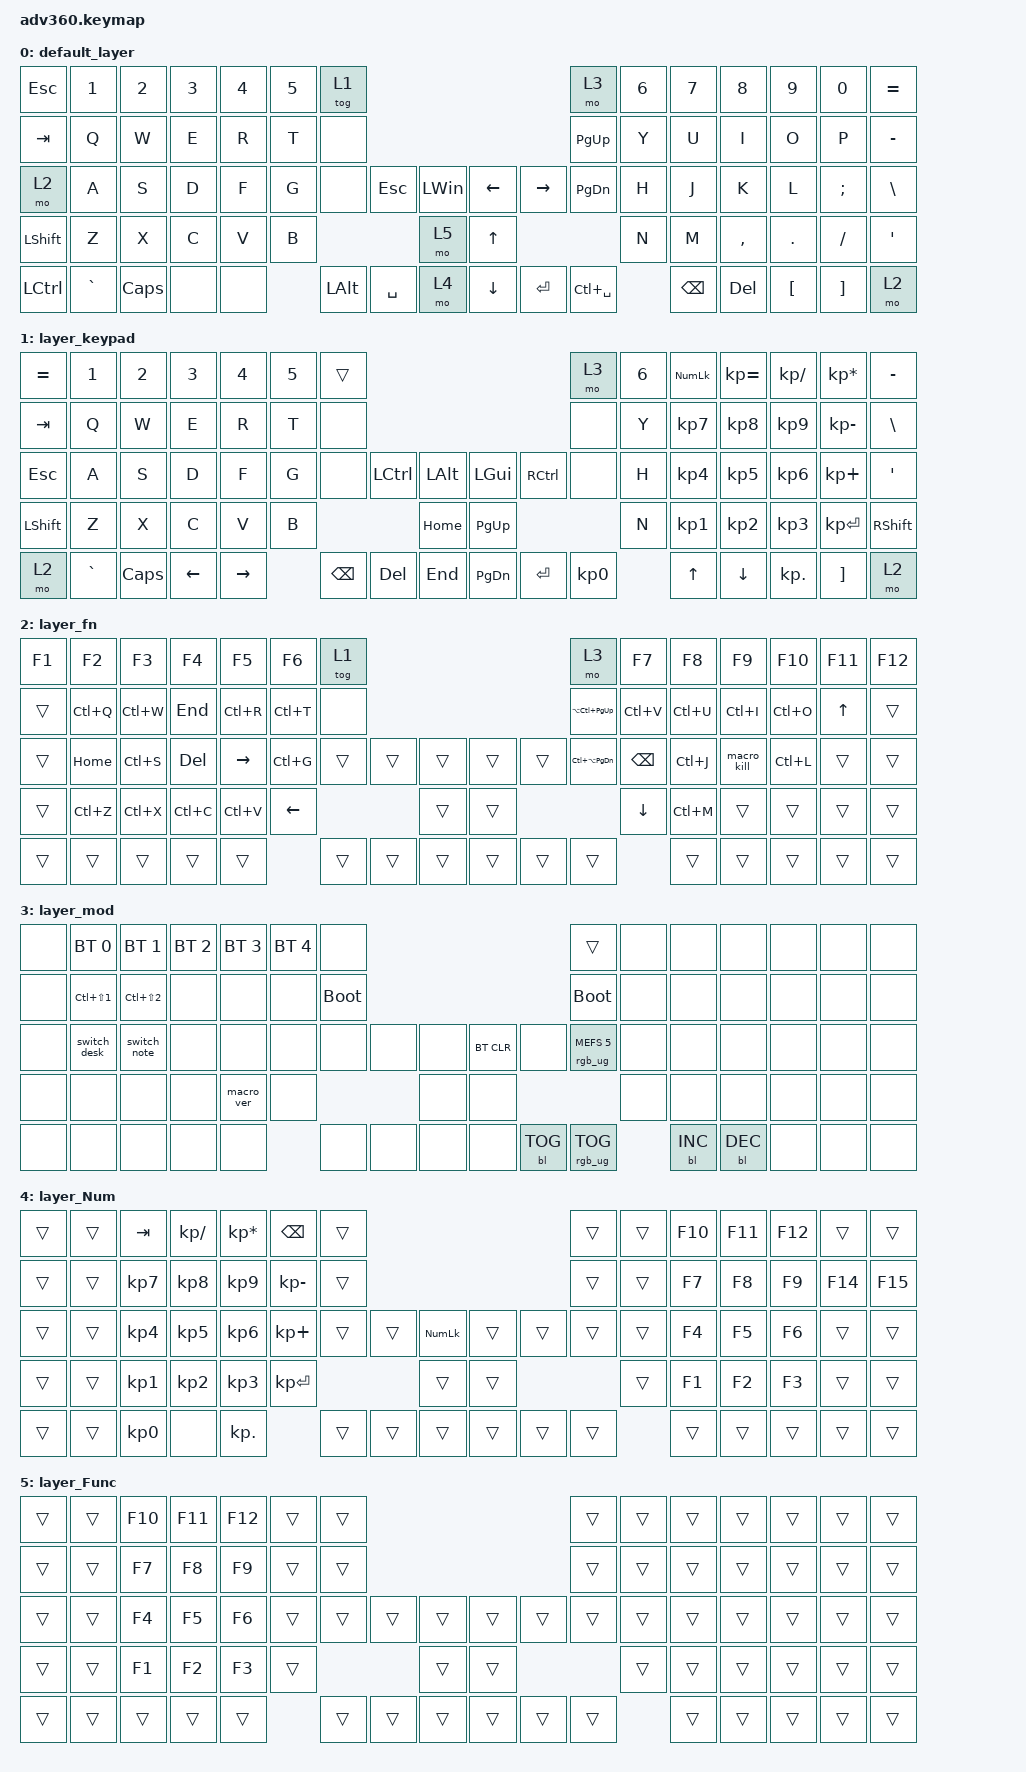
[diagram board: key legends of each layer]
/*
 * Copyright (c) 2020 The ZMK Contributors
 *
 * SPDX-License-Identifier: MIT
 */
/* THIS FILE WAS GENERATED!
 *
 * This file was generated automatically. You may or may not want to
 * edit it directly.
 */

#include <behaviors.dtsi>
#include <dt-bindings/zmk/backlight.h>
#include <dt-bindings/zmk/bt.h>
#include <dt-bindings/zmk/keys.h>
#include <dt-bindings/zmk/rgb.h>

/ {
    behaviors {
        #include "macros.dtsi"
    #include "version.dtsi"

        hm: homerow_mods {
            compatible = "zmk,behavior-hold-tap";
            label = "HOMEROW_MODS";
            #binding-cells = <2>;
            tapping-term-ms = <200>;
            quick_tap_ms = <175>;
            flavor = "tap-preferred";
            bindings = <&kp>, <&kp>;
        };
    };

    macros {
        switch_note: switch_note {
            compatible = "zmk,behavior-macro";
            #binding-cells = <0>;
            bindings = <&kp LC(LS(NUMBER_2)) &bt BT_SEL 1>;
            label = "SWITCH_NOTE";
        };

        switch_desk: switch_desk {
            compatible = "zmk,behavior-macro";
            #binding-cells = <0>;
            bindings = <&kp LS(LC(NUMBER_1)) &bt BT_SEL 0>;
            label = "SWITCH_DESK";
        };
    };

    keymap {
        compatible = "zmk,keymap";

        default_layer {
            bindings = <
&kp ESC           &kp N1     &kp N2    &kp N3  &kp N4  &kp N5  &tog 1                                                      &mo 3          &kp N6  &kp N7         &kp N8      &kp N9    &kp N0    &kp EQUAL
&kp TAB           &kp Q      &kp W     &kp E   &kp R   &kp T   &none                                                       &kp PAGE_UP    &kp Y   &kp U          &kp I       &kp O     &kp P     &kp MINUS
&mo 2             &kp A      &kp S     &kp D   &kp F   &kp G   &none         &kp ESC    &kp LWIN      &kp LEFT  &kp RIGHT  &kp PAGE_DOWN  &kp H   &kp J          &kp K       &kp L     &kp SEMI  &kp BSLH
&kp LSHFT         &kp Z      &kp X     &kp C   &kp V   &kp B                            &mo 5         &kp UP                              &kp N   &kp M          &kp COMMA   &kp DOT   &kp FSLH  &kp SQT
&kp LEFT_CONTROL  &kp GRAVE  &kp CAPS  &none   &none           &kp LEFT_ALT  &kp SPACE  &mo 4         &kp DOWN  &kp ENTER  &kp LC(SPACE)          &kp BACKSPACE  &kp DELETE  &kp LBKT  &kp RBKT  &mo 2
            >;
        };

        layer_keypad {
            bindings = <
&kp EQUAL  &kp N1     &kp N2    &kp N3    &kp N4     &kp N5  &trans                                                   &mo 3      &kp N6  &kp KP_NUM  &kp KP_EQUAL  &kp KP_DIVIDE  &kp KP_MULTIPLY  &kp MINUS
&kp TAB    &kp Q      &kp W     &kp E     &kp R      &kp T   &none                                                    &none      &kp Y   &kp KP_N7   &kp KP_N8     &kp KP_N9      &kp KP_MINUS     &kp BSLH
&kp ESC    &kp A      &kp S     &kp D     &kp F      &kp G   &none     &kp LCTRL  &kp LALT      &kp LGUI   &kp RCTRL  &none      &kp H   &kp KP_N4   &kp KP_N5     &kp KP_N6      &kp KP_PLUS      &kp SQT
&kp LSHFT  &kp Z      &kp X     &kp C     &kp V      &kp B                        &kp HOME      &kp PG_UP                        &kp N   &kp KP_N1   &kp KP_N2     &kp KP_N3      &kp KP_ENTER     &kp RSHFT
&mo 2      &kp GRAVE  &kp CAPS  &kp LEFT  &kp RIGHT          &kp BSPC  &kp DEL    &kp END       &kp PG_DN  &kp ENTER  &kp KP_N0          &kp UP      &kp DOWN      &kp KP_DOT     &kp RBKT         &mo 2
            >;
        };

        layer_fn {
            bindings = <
&kp F1  &kp F2     &kp F3     &kp F4      &kp F5     &kp F6     &tog 1                                      &mo 3                  &kp F7         &kp F8     &kp F9       &kp F10    &kp F11  &kp F12
&trans  &kp LC(Q)  &kp LC(W)  &kp END     &kp LC(R)  &kp LC(T)  &none                                       &kp LA(LC(PAGE_UP))    &kp LC(V)      &kp LC(U)  &kp LC(I)    &kp LC(O)  &kp UP   &trans
&trans  &kp HOME   &kp LC(S)  &kp DELETE  &kp RIGHT  &kp LC(G)  &trans  &trans  &trans      &trans  &trans  &kp LC(LA(PAGE_DOWN))  &kp BACKSPACE  &kp LC(J)  &macro_kill  &kp LC(L)  &trans   &trans
&trans  &kp LC(Z)  &kp LC(X)  &kp LC(C)   &kp LC(V)  &kp LEFT                   &trans      &trans                                 &kp DOWN       &kp LC(M)  &trans       &trans     &trans   &trans
&trans  &trans     &trans     &trans      &trans                &trans  &trans  &trans      &trans  &trans  &trans                                &trans     &trans       &trans     &trans   &trans
            >;
        };

        layer_mod {
            bindings = <
&none  &bt BT_SEL 0          &bt BT_SEL 1          &bt BT_SEL 2  &bt BT_SEL 3  &bt BT_SEL 4  &none                                                  &trans                  &none  &none       &none       &none  &none  &none
&none  &kp LC(LS(NUMBER_1))  &kp LC(LS(NUMBER_2))  &none         &none         &none         &bootloader                                            &bootloader             &none  &none       &none       &none  &none  &none
&none  &switch_desk          &switch_note          &none         &none         &none         &none        &none  &none      &bt BT_CLR  &none       &rgb_ug RGB_MEFS_CMD 5  &none  &none       &none       &none  &none  &none
&none  &none                 &none                 &none         &macro_ver    &none                             &none      &none                                           &none  &none       &none       &none  &none  &none
&none  &none                 &none                 &none         &none                       &none        &none  &none      &none       &bl BL_TOG  &rgb_ug RGB_TOG                &bl BL_INC  &bl BL_DEC  &none  &none  &none
            >;
        };

        layer_Num {
            bindings = <
&trans  &trans  &kp TAB    &kp KP_SLASH  &kp KP_MULTIPLY  &kp BACKSPACE  &trans                                              &trans  &trans  &kp F10  &kp F11  &kp F12  &trans   &trans
&trans  &trans  &kp KP_N7  &kp KP_N8     &kp KP_N9        &kp KP_MINUS   &trans                                              &trans  &trans  &kp F7   &kp F8   &kp F9   &kp F14  &kp F15
&trans  &trans  &kp KP_N4  &kp KP_N5     &kp KP_N6        &kp KP_PLUS    &trans  &trans  &kp KP_NUMLOCK      &trans  &trans  &trans  &trans  &kp F4   &kp F5   &kp F6   &trans   &trans
&trans  &trans  &kp KP_N1  &kp KP_N2     &kp KP_N3        &kp KP_ENTER                   &trans              &trans                  &trans  &kp F1   &kp F2   &kp F3   &trans   &trans
&trans  &trans  &kp KP_N0  &none         &kp KP_DOT                      &trans  &trans  &trans              &trans  &trans  &trans          &trans   &trans   &trans   &trans   &trans
            >;
        };

        layer_Func {
            bindings = <
&trans  &trans  &kp F10  &kp F11  &kp F12  &trans  &trans                                      &trans  &trans  &trans  &trans  &trans  &trans  &trans
&trans  &trans  &kp F7   &kp F8   &kp F9   &trans  &trans                                      &trans  &trans  &trans  &trans  &trans  &trans  &trans
&trans  &trans  &kp F4   &kp F5   &kp F6   &trans  &trans  &trans  &trans      &trans  &trans  &trans  &trans  &trans  &trans  &trans  &trans  &trans
&trans  &trans  &kp F1   &kp F2   &kp F3   &trans                  &trans      &trans                  &trans  &trans  &trans  &trans  &trans  &trans
&trans  &trans  &trans   &trans   &trans           &trans  &trans  &trans      &trans  &trans  &trans          &trans  &trans  &trans  &trans  &trans
            >;
        };
    };
};
